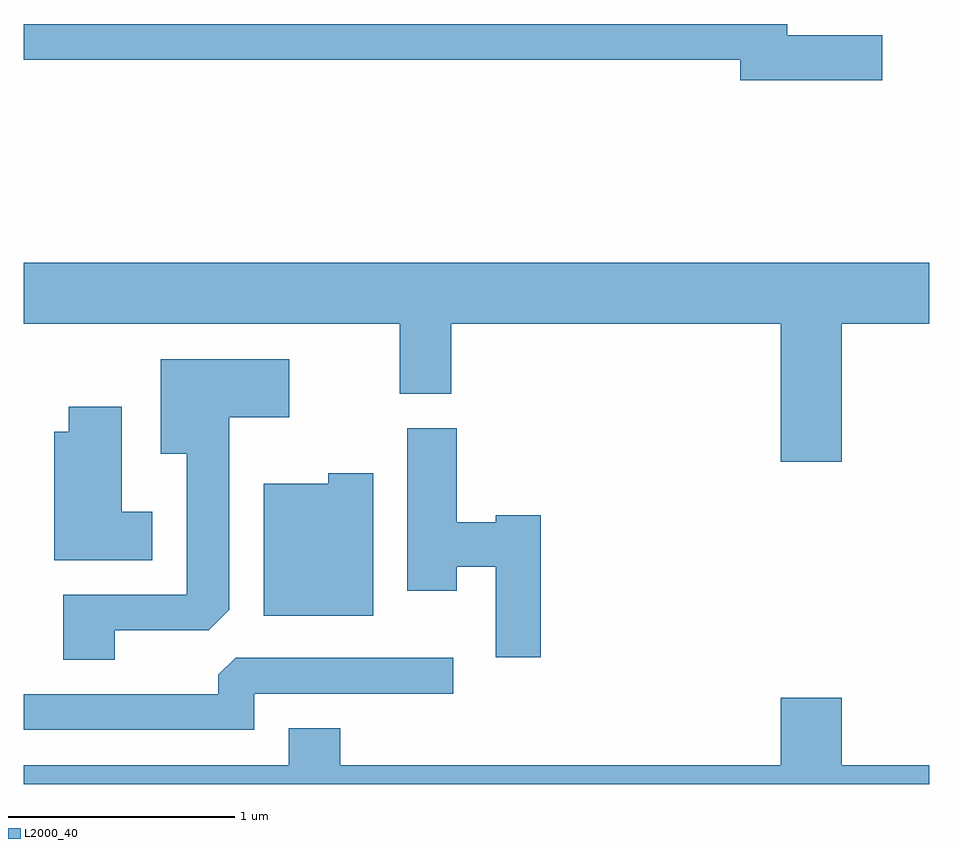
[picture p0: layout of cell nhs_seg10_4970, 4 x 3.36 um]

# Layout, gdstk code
import gdstk
lib = gdstk.Library(unit=1e-6, precision=1e-09)
def P(c, l, *ps):  # polygons
    for p in ps: c.add(gdstk.Polygon(p, *l))
L2000_40 = (2000, 40)

nhs_seg10_4970 = lib.new_cell('nhs_seg10_4970')
P(nhs_seg10_4970, L2000_40, [(335.404,2141.829),(334.984,2141.829),(334.984,2141.879),(331.611,2141.879),(331.611,2141.721),(334.776,2141.721),(334.776,2141.631),(335.404,2141.631)],
  [(335.224,2140.556),(335.611,2140.556),(335.611,2140.824),(331.611,2140.824),(331.611,2140.556),(333.271,2140.556),(333.271,2140.246),(333.499,2140.246),(333.499,2140.556),(334.956,2140.556),(334.956,2139.946),(335.224,2139.946)],
  [(332.014,2139.201),(332.429,2139.201),(332.519,2139.292),(332.519,2140.141),(332.784,2140.141),(332.784,2140.399),(332.216,2140.399),(332.216,2139.981),(332.331,2139.981),(332.331,2139.359),(331.786,2139.359),(331.786,2139.071),(332.014,2139.071)],
  [(332.179,2139.724),(332.044,2139.724),(332.044,2140.189),(331.811,2140.189),(331.811,2140.079),(331.746,2140.079),(331.746,2139.511),(332.179,2139.511)],
  [(333.894,2139.709),(333.696,2139.709),(333.696,2139.679),(333.524,2139.679),(333.524,2140.094),(333.306,2140.094),(333.306,2139.376),(333.524,2139.376),(333.524,2139.481),(333.696,2139.481),(333.696,2139.081),(333.894,2139.081)],
  [(333.154,2139.894),(332.956,2139.894),(332.956,2139.849),(332.671,2139.849),(332.671,2139.266),(333.154,2139.266)],
  [(332.629,2138.921),(333.508,2138.921),(333.508,2139.079),(332.547,2139.079),(332.471,2139.004),(332.471,2138.919),(331.611,2138.919),(331.611,2138.761),(332.629,2138.761)],
  [(335.611,2138.604),(335.224,2138.604),(335.224,2138.904),(334.956,2138.904),(334.956,2138.604),(333.009,2138.604),(333.009,2138.769),(332.781,2138.769),(332.781,2138.604),(331.611,2138.604),(331.611,2138.522),(335.611,2138.522)])

lib.write_gds('nhs_seg10_4970.gds')
